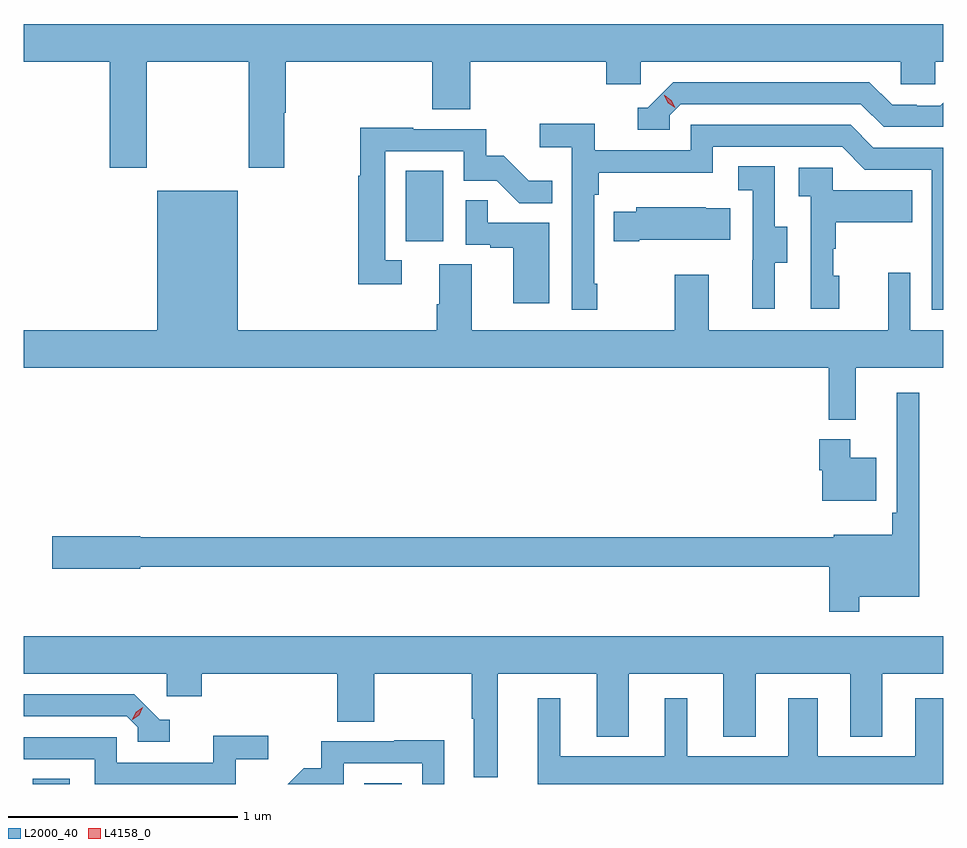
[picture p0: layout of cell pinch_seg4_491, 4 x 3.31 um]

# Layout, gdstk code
import gdstk
lib = gdstk.Library(unit=1e-6, precision=1e-09)
def R(c, l, rs):  # rectangles x0, y0, x1, y1
    for r in rs: c.add(gdstk.rectangle(r[:2], r[2:], *l))
def P(c, l, *ps):  # polygons
    for p in ps: c.add(gdstk.Polygon(p, *l))
L2000_40 = (2000, 40)
L4158_0 = (4158, 0)

pinch_seg4_491 = lib.new_cell('pinch_seg4_491')
R(pinch_seg4_491, L2000_40, [(911.172,759.045,911.332,759.068), (912.614,759.045,912.778,759.049), (912.794,761.406,912.958,761.713)])
P(pinch_seg4_491, L2000_40, [(911.667,762.188),(912.112,762.188),(912.112,761.727),(912.267,761.727),(912.267,761.966),(912.272,761.966),(912.272,762.188),(912.911,762.188),(912.911,761.98),(913.076,761.98),(913.076,762.188),(913.667,762.188),(913.667,762.09),(913.818,762.09),(913.818,762.188),(914.949,762.188),(914.949,762.09),(915.099,762.09),(915.099,762.188),(915.133,762.188),(915.133,762.352),(911.133,762.352),(911.133,762.188),(911.507,762.188),(911.507,761.727),(911.667,761.727)],
  [(913.944,761.955),(913.992,762.003),(914.775,762.003),(914.874,761.904),(915.133,761.904),(915.133,762.009),(915.121,761.997),(915.018,761.997),(915.018,762),(914.911,762),(914.812,762.099),(913.959,762.099),(913.848,761.988),(913.805,761.988),(913.805,761.892),(913.944,761.892)],
  [(913.627,761.221),(913.614,761.221),(913.614,761.609),(913.634,761.609),(913.634,761.705),(914.13,761.705),(914.13,761.817),(914.694,761.817),(914.793,761.718),(915.084,761.718),(915.084,761.109),(915.133,761.109),(915.133,761.814),(914.83,761.814),(914.731,761.913),(914.034,761.913),(914.034,761.802),(913.616,761.802),(913.616,761.918),(913.377,761.918),(913.377,761.816),(913.518,761.816),(913.518,761.109),(913.627,761.109)],
  [(912.778,761.325),(912.705,761.325),(912.705,761.799),(913.047,761.799),(913.047,761.67),(913.191,761.67),(913.289,761.572),(913.433,761.572),(913.433,761.671),(913.329,761.671),(913.222,761.778),(913.146,761.778),(913.146,761.895),(912.827,761.895),(912.827,761.9),(912.597,761.9),(912.597,761.692),(912.589,761.692),(912.589,761.22),(912.778,761.22)],
  [(914.401,761.314),(914.455,761.314),(914.455,761.469),(914.4,761.469),(914.4,761.732),(914.241,761.732),(914.241,761.629),(914.304,761.629),(914.304,761.325),(914.303,761.325),(914.303,761.112),(914.401,761.112)],
  [(914.68,761.256),(914.655,761.256),(914.655,761.375),(914.665,761.375),(914.665,761.489),(914.999,761.489),(914.999,761.629),(914.652,761.629),(914.652,761.727),(914.505,761.727),(914.505,761.603),(914.556,761.603),(914.556,761.112),(914.68,761.112)],
  [(914.753,760.856),(915.133,760.856),(915.133,761.02),(914.991,761.02),(914.991,761.269),(914.894,761.269),(914.894,761.02),(914.113,761.02),(914.113,761.26),(913.966,761.26),(913.966,761.02),(913.081,761.02),(913.081,761.306),(912.941,761.306),(912.941,761.132),(912.929,761.132),(912.929,761.02),(912.064,761.02),(912.064,761.626),(911.714,761.626),(911.714,761.02),(911.133,761.02),(911.133,760.856),(914.635,760.856),(914.635,760.631),(914.753,760.631)],
  [(913.42,761.487),(913.151,761.487),(913.151,761.585),(913.056,761.585),(913.056,761.391),(913.163,761.391),(913.163,761.379),(913.262,761.379),(913.262,761.136),(913.42,761.136)],
  [(913.81,761.414),(914.207,761.414),(914.207,761.551),(914.099,761.551),(914.099,761.554),(913.797,761.554),(913.797,761.536),(913.699,761.536),(913.699,761.407),(913.81,761.407)],
  [(914.767,759.86),(915.028,759.86),(915.028,760.747),(914.931,760.747),(914.931,760.225),(914.911,760.225),(914.911,760.129),(914.657,760.129),(914.657,760.118),(911.64,760.118),(911.64,760.124),(911.256,760.124),(911.256,759.982),(911.64,759.982),(911.64,759.99),(914.638,759.99),(914.638,759.795),(914.767,759.795)],
  [(914.842,760.465),(914.728,760.465),(914.728,760.546),(914.594,760.546),(914.594,760.41),(914.606,760.41),(914.606,760.277),(914.842,760.277)],
  [(913.195,759.524),(913.625,759.524),(913.625,759.251),(913.765,759.251),(913.765,759.524),(914.177,759.524),(914.177,759.251),(914.317,759.251),(914.317,759.524),(914.729,759.524),(914.729,759.251),(914.869,759.251),(914.869,759.524),(915.133,759.524),(915.133,759.688),(911.133,759.688),(911.133,759.524),(911.754,759.524),(911.754,759.426),(911.906,759.426),(911.906,759.524),(912.497,759.524),(912.497,759.316),(912.657,759.316),(912.657,759.524),(913.081,759.524),(913.081,759.328),(913.091,759.328),(913.091,759.075),(913.195,759.075)],
  [(911.767,759.324),(911.724,759.324),(911.613,759.435),(911.133,759.435),(911.133,759.339),(911.58,759.339),(911.628,759.291),(911.628,759.228),(911.767,759.228)],
  [(915.133,759.418),(915.011,759.418),(915.011,759.166),(914.587,759.166),(914.587,759.418),(914.459,759.418),(914.459,759.166),(914.02,759.166),(914.02,759.418),(913.922,759.418),(913.922,759.166),(913.468,759.166),(913.468,759.418),(913.37,759.418),(913.37,759.045),(915.133,759.045)],
  [(912.054,759.152),(912.196,759.152),(912.196,759.254),(911.957,759.254),(911.957,759.138),(911.538,759.138),(911.538,759.249),(911.133,759.249),(911.133,759.153),(911.442,759.153),(911.442,759.045),(912.054,759.045)],
  [(912.525,759.135),(912.867,759.135),(912.867,759.045),(912.963,759.045),(912.963,759.236),(912.745,759.236),(912.745,759.231),(912.427,759.231),(912.427,759.114),(912.35,759.114),(912.281,759.045),(912.525,759.045)])
P(pinch_seg4_491, L4158_0, [(911.604,759.325),(911.604,759.325),(911.619,759.358),(911.65,759.378),(911.65,759.378),(911.65,759.378),(911.635,759.345),(911.604,759.325)],
  [(913.967,761.988),(913.936,762.008),(913.92,762.04),(913.92,762.041),(913.921,762.041),(913.951,762.021),(913.967,761.988),(913.967,761.988)])

lib.write_gds('pinch_seg4_491.gds')
